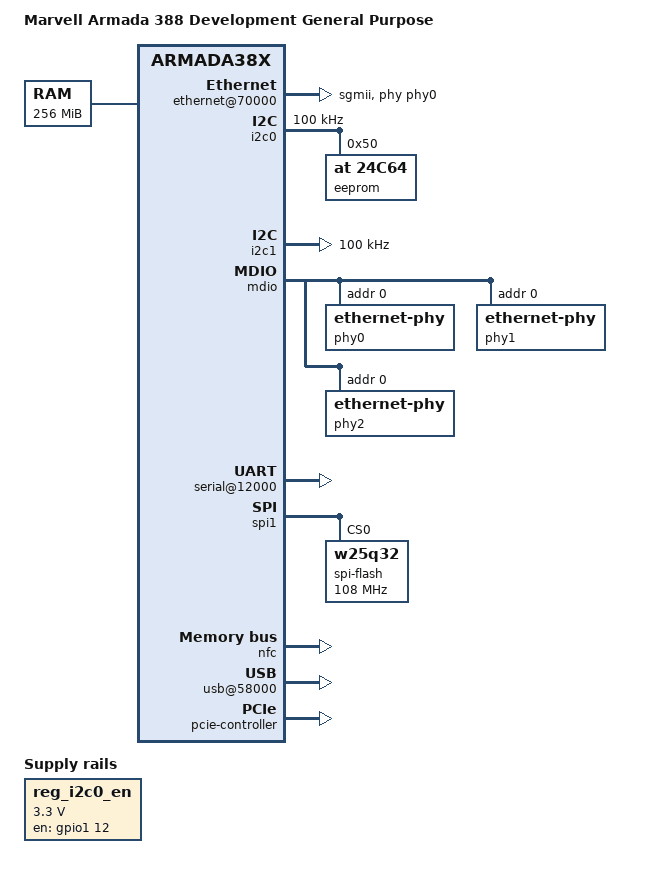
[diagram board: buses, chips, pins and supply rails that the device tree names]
/*
 * Device Tree file for Marvell Armada 388 AMC board
 * (DB-88F6828-AMC)
 *
 *  Copyright (C) 2014 Marvell
 *
 * Nadav Haklai <nadavh@marvell.com>
 *
 * This file is licensed under the terms of the GNU General Public
 * License version 2.  This program is licensed "as is" without any
 * warranty of any kind, whether express or implied.
 */

/dts-v1/;
#include <dt-bindings/gpio/gpio.h> 
#include "armada-385-388.dtsi"

/ {
	model = "Marvell Armada 388 Development General Purpose";
	compatible = "marvell,a385-db-amc", "marvell,armada385", "marvell,armada38x";

	chosen {
		bootargs = "console=ttyS0,115200 earlyprintk";
	};

	memory {
		device_type = "memory";
		reg = <0x00000000 0x10000000>; /* 256 MB */
	};

	/*this field is read by mts-arch.c file to classify the project type - dont change!	*/
	dts_file {
		file_name = __FILE__;
	};

	soc {
		pcie-mem-aperture = <0xa0000000 0x40000000>; /* 1 GB */

		internal-regs {
			ethernet@70000 {
				status = "okay";
				phy = <&phy0>;
				phy-mode = "sgmii";
			};

			ethernet@30000 {
				status = "disabled";
				phy = <&phy1>;
				phy-mode = "sgmii";
			};

			ethernet@34000 {
				status = "disabled";
				phy = <&phy2>;
				phy-mode = "sgmii";
			};

			i2c0: i2c@11000 {
				status = "okay";
				clock-frequency = <100000>;

				eeprom@50 {
					compatible = "at,24c64";
					pagesize = <32>;
					reg = <0x50>;
					marvell,borad_id_reg = <0x7>;
				};
			};

			i2c1: i2c@11100 {
				status = "okay";
				clock-frequency = <100000>;
			};

			mdio {
				phy0: ethernet-phy@0 {
					reg = <0>;
				};

				phy1: ethernet-phy@1 {
					reg = <0>;
				};

				phy2: ethernet-phy@2 {
					reg = <0>;
				};

			};

			sdhci@d8000 {
				broken-cd;
				wp-inverted;
				bus-width = <8>;
				status = "disabled";
				no-1-8-v;
			};

			serial@12000 {
				status = "okay";
			};

			spi1: spi@10680 {
				status = "okay";

				spi-flash@0 {
					#address-cells = <1>;
					#size-cells = <0>;
					compatible = "w25q32";
					reg = <0>; /* Chip select 0 */
					spi-max-frequency = <108000000>;
					mtd0@00000000 {
						label = "U-Boot";
						reg = <0x00000000 0x00400000>;
						read-only;
					};

					mtd1@00400000 {
						label = "Root";
						reg = <0x00400000 0x00c00000>;
					};
				};
			};
			nfc: nand@d0000 {
				status = "okay";
				#address-cells = <0x00000001>;
				#size-cells = <0x00000001>;
				nfc,nfc-mode = "normal";
				nfc,nfc-dma = <0x00000000>;
				nfc,nfc-width = <0x00000008>;
				nfc,ecc-type = <0x00000001>;
				nfc,num-cs = <0x00000001>;
			};
			usb@58000 {
				status = "okay";
			};

			pinctrl {
				i2c0_en_pins: i2c0_en_pins {
					marvell,pins = "mpp44";
					marvell,function = "gpio";
				};
			};

			prestera {
				compatible = "marvell,armada-prestera", "simple-bus";
				status = "okay";
				/* the remote MSYS board ID can be enforced
				cpss_force_board_id = <0x50>; */
				servicecpu {
					#address-cells = <1>;
					#size-cells = <1>;
					compatible = "marvell,msys-servicecpu";
					status = "okay";
					interrupts = <0x0 0x1d 0x4>;
					sram_sections {
						#address-cells = <1>;
						#size-cells = <1>;
						/* the sum of all sections' size should be equal to sram_base's size*/
						/* there should be no gap between 2 continuous sections */
						/* the section lable should be one of following: */
						/* "L2 Cache", "free area", "host memory", "OAM DB", "share memory" and "firmware" */
						/* the current sections definition is used for 512K SRAM (for BobK). */
						/* In order to use 2M SRAM on Bobcat2 or AC3, the sections definition should be updated. */
						sram_base = <0 0x80000>;	/*sram base offset and size in service cpu pci window*/
						sram_section@0 {
							label = "L2 Cache";
							reg = <0 0x20000>;	/*section offset to sram_base and section size*/
						};

						sram_section@0x20000 {
							label = "host memory";
							reg = <0x20000 0x20000>;
						};

						sram_section@0x40000 {
							label = "OAM DB";
							reg = <0x40000 0x10000>;
						};

						sram_section@0x50000 {
							label = "share memory";
							reg = <0x50000 0x20000>;
						};

						sram_section@0x70000 {
							label = "firmware";
							reg = <0x70000 0x10000>;
						};
					};
				};
			};
		};

		pcie-controller {
			status = "okay";
			/*
			 * The two PCIe units are accessible through
			 * standard PCIe slots on the board.
			 */
			pcie@1,0 {
				/* Port 0, Lane 0 */
				status = "okay";
			};
			pcie@2,0 {
				/* Port 1, Lane 0 */
				status = "okay";
			};
			pcie@3,0 {
				/* Port 1, Lane 0 */
				status = "okay";
			};
			pcie@4,0 {
				/* Port 1, Lane 0 */
				status = "okay";
			};
		};
	};

	reg_i2c0_en: i2c0_en {
		compatible = "regulator-fixed";
		pinctrl-names = "default";
		pinctrl-0 = <&i2c0_en_pins>;
		regulator-name = "i2c0_en";
		regulator-min-microvolt = <3300000>;
		regulator-max-microvolt = <3300000>;
		enable-active-high;
		regulator-always-on;
		gpio = <&gpio1 12 GPIO_ACTIVE_HIGH>;
	};
};
